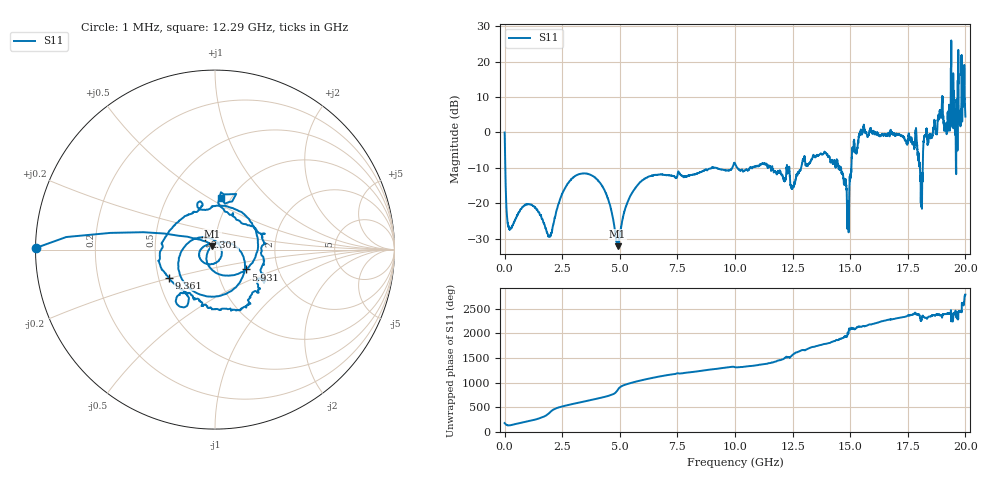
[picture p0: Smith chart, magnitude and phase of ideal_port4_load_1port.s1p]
! Created with skrf 1.8.0 (http://scikit-rf.org).
# GHz S RI R 50.0
!freq ReS11 ImS11
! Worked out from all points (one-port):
!   10001 points, 1 MHz to 20 GHz, reference 50 ohm
!   lowest |S11| = -32.1 dB at 4.905 GHz (marker M1), VSWR 1.05, Z = 48.5 + j1.9 ohm
!   |S11| at or under -10 dB: 31.09 MHz to 8.988 GHz (8.957 GHz wide, 199 % of centre); 9.194 GHz to 9.885 GHz (690.7 MHz wide, 7.24 % of centre); 11.62 GHz to 12.23 GHz (612.7 MHz wide, 5.14 % of centre) (the widest 3 of 24)
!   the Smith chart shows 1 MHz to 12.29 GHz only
!   S11 on the Smith chart (normalised r, x): 1 MHz: 0.00, +0.00; 2.301 GHz: 0.89, +0.12; 5.931 GHz: 1.37, -0.32; 9.361 GHz: 0.57, -0.19; 12.29 GHz: 0.90, +0.58
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0.001  -0.9964 0.00969
0.2289886  -0.0299 0.0307
2.300885  -0.0552 0.0697
2.500875  -0.1254 0.0533
3.936803  0.1383 -0.1827
4.904755  -0.0152 0.0196
5.00075  -0.0352 -0.00197
5.930703  0.1716 -0.1104
7.500625  -0.0895 0.2285
9.360532  -0.2579 -0.156
10.0005  -0.2163 -0.2956
12.29239  0.0393 0.2947
12.50038  -0.0975 0.1373
15.00025  0.0504 -0.2145
15.63622  1.027 -0.3095
16.44218  -0.0575 0.8995
17.50013  -0.6736 -0.3203
17.83611  -0.322 -0.9568
18.29609  -0.976 0.3686
18.95005  -1.489 -0.9064
19.27604  -0.7835 -1.455
19.37403  0.8474 -4.45
19.47803  -4.429 -2.936
19.54802  -0.3445 -0.9061
19.74201  0.7782 -1.564
19.82601  0.347 -2.183
19.944  -2.36 4.057
20  -0.0264 -1.672
